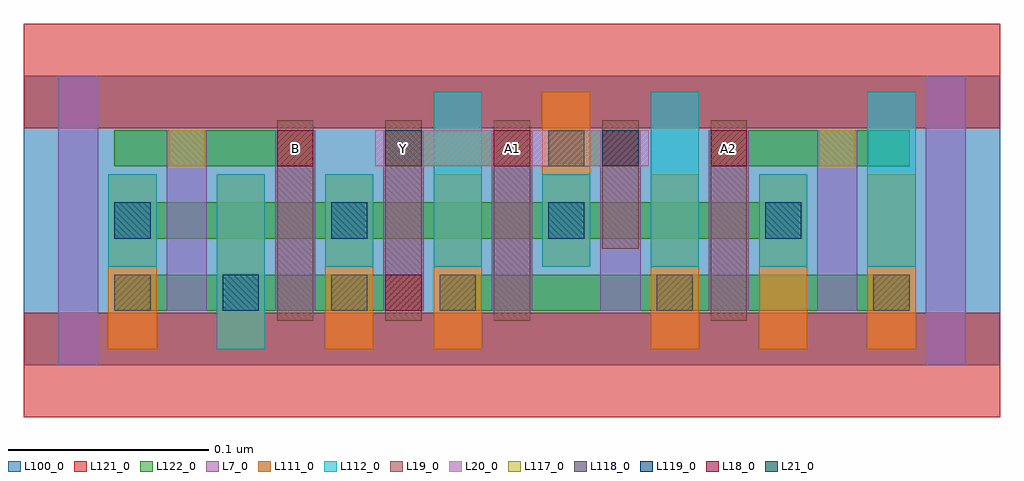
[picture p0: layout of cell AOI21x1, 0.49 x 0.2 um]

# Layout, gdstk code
import gdstk
lib = gdstk.Library(unit=1e-6, precision=2.5e-10)
def R(c, l, rs):  # rectangles x0, y0, x1, y1
    for r in rs: c.add(gdstk.rectangle(r[:2], r[2:], *l))
def A(c, l, x, y, w, h, nx, ny, dx, dy):  # array of equal rectangles
    R(c, l, [(x+i*dx, y+j*dy, x+i*dx+w, y+j*dy+h) for i in range(nx) for j in range(ny)])
L7_0 = (7, 0)
L18_0 = (18, 0)
L19_0 = (19, 0)
L20_0 = (20, 0)
L21_0 = (21, 0)
L100_0 = (100, 0)
L111_0 = (111, 0)
L112_0 = (112, 0)
L117_0 = (117, 0)
L118_0 = (118, 0)
L119_0 = (119, 0)
L121_0 = (121, 0)
L122_0 = (122, 0)

aoi21x1 = lib.new_cell('AOI21x1')
A(aoi21x1, L7_0, 0.071, 0.027, 0.02, 0.09, 7, 1, 0.054, 0)
R(aoi21x1, L7_0, [(0.017,0,0.037,0.144), (0.449,0,0.469,0.144)])
A(aoi21x1, L18_0, 0.234, 0.099, 0.018, 0.018, 3, 1, 0.054, 0)
R(aoi21x1, L18_0, [(0.18,0.027,0.198,0.045), (0.126,0.099,0.144,0.117)])
A(aoi21x1, L19_0, 0.126, 0.022, 0.018, 0.1, 3, 1, 0.054, 0)
R(aoi21x1, L19_0, [(0.342,0.022,0.36,0.122), (0.288,0.058,0.306,0.122)])
R(aoi21x1, L20_0, [(0.175,0.099,0.311,0.117)])
R(aoi21x1, L21_0, [(0.18,0.099,0.198,0.117), (0.288,0.099,0.306,0.117)])
R(aoi21x1, L100_0, [(0,0,0.486,0.144)])
A(aoi21x1, L111_0, 0.042, 0.008, 0.024, 0.087, 4, 1, 0.054, 0)
A(aoi21x1, L111_0, 0.312, 0.008, 0.024, 0.087, 3, 1, 0.054, 0)
R(aoi21x1, L111_0, [(0.258,0.049,0.282,0.136)])
A(aoi21x1, L112_0, 0.042, 0.049, 0.024, 0.046, 4, 1, 0.108, 0)
A(aoi21x1, L112_0, 0.204, 0.049, 0.024, 0.087, 3, 1, 0.108, 0)
R(aoi21x1, L112_0, [(0.096,0.008,0.12,0.095)])
A(aoi21x1, L117_0, 0.072, 0.099, 0.018, 0.018, 4, 1, 0.054, 0)
R(aoi21x1, L117_0, [(0.342,0.099,0.36,0.117), (0.396,0.099,0.414,0.117)])
A(aoi21x1, L118_0, 0.207, 0.027, 0.018, 0.018, 3, 1, 0.108, 0)
R(aoi21x1, L118_0, [(0.045,0.027,0.063,0.045), (0.153,0.027,0.171,0.045), (0.261,0.099,0.279,0.117)])
A(aoi21x1, L119_0, 0.045, 0.063, 0.018, 0.018, 4, 1, 0.108, 0)
R(aoi21x1, L119_0, [(0.099,0.027,0.117,0.045)])
R(aoi21x1, L121_0, [(0,-0.026,0.486,0.026), (0,0.118,0.486,0.17)])
R(aoi21x1, L122_0, [(0.045,0.027,0.198,0.045), (0.207,0.027,0.441,0.045), (0.045,0.063,0.387,0.081), (0.045,0.099,0.144,0.117), (0.18,0.099,0.252,0.117), (0.261,0.099,0.306,0.117), (0.342,0.099,0.441,0.117)])
aoi21x1.add(gdstk.Label('Y', (0.189,0.108), layer=19, texttype=251))
aoi21x1.add(gdstk.Label('B', (0.135,0.108), layer=19, texttype=251))
aoi21x1.add(gdstk.Label('A2', (0.351,0.108), layer=19, texttype=251))
aoi21x1.add(gdstk.Label('A1', (0.243,0.108), layer=19, texttype=251))

lib.write_gds('AOI21x1.gds')
